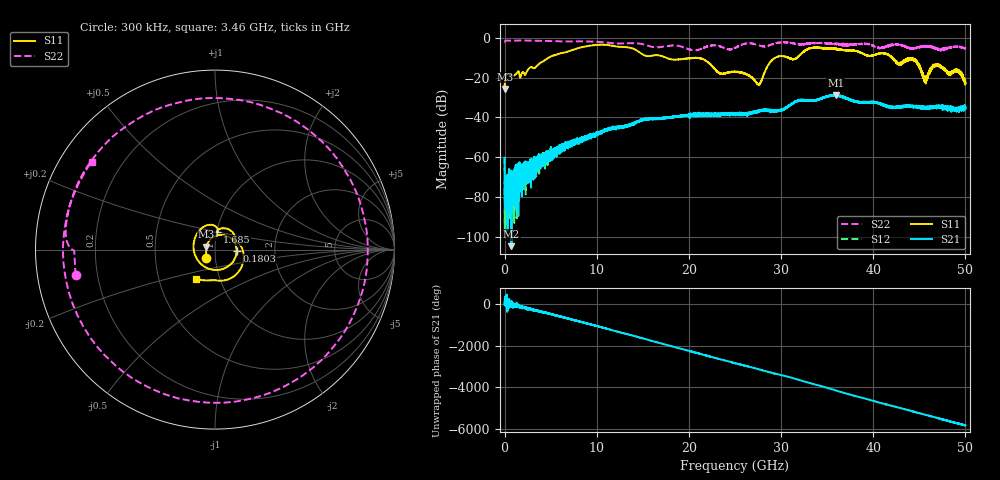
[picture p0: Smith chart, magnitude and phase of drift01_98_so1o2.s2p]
!Created with skrf (http://scikit-rf.org).
# Hz S RI R 50.0
!freq ReS11 ImS11 ReS21 ImS21 ReS12 ImS12 ReS22 ImS22
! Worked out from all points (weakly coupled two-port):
!   10001 points, 300 kHz to 50 GHz, reference 50 ohm
!   highest |S21| = -28.73 dB at 35.94 GHz (marker M1); lowest = -104.7 dB at 745.3 MHz (marker M2)
!   lowest |S11| = -25.8 dB at 5.3 MHz (marker M3), VSWR 1.11, Z = 45.3 + j1.41 ohm
!   |S11| at or under -10 dB: start of sweep to 4.767 GHz; 17.5 GHz to 29.38 GHz (11.88 GHz wide, 50.7 % of centre); 42.07 GHz to end of sweep (the widest 3 of 13)
!   |S22| runs from -6.5 to -1.4 dB; largest |S21 - S12| = 0.0043
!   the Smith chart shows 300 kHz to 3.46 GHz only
!   S11 on the Smith chart (normalised r, x): 300 kHz: 0.90, -0.08; 180.3 MHz: 1.27, -0.01; 1.685 GHz: 1.01, +0.20; 3.46 GHz: 0.77, -0.26
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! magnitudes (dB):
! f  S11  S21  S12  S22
! 300 kHz  -23.6  -60.4  -59.9  -2.0
! 5.3 MHz  -25.8  -72.7  -83.2  -2.1
! 180.3 MHz  -18.4  -74.5  -74.0  -1.4
! 745.3 MHz  -19.0  -104.7  -71.4  -1.5
! 1.685 GHz  -20.1  -72.8  -71.5  -1.4
! 3.46 GHz  -14.3  -62.7  -61.9  -1.5
! 8.335 GHz  -4.8  -51.5  -51.6  -1.8
! 16.67 GHz  -8.8  -40.5  -40.7  -4.8
! 21.21 GHz  -10.3  -38.5  -38.7  -5.8
! 23.39 GHz  -17.9  -39.0  -38.4  -4.4
! 25 GHz  -17.1  -38.3  -38.6  -5.1
! 27.59 GHz  -23.6  -36.9  -37.1  -3.8
! 29.27 GHz  -10.3  -36.7  -37.0  -2.9
! 31.47 GHz  -10.7  -32.1  -32.5  -2.9
! 33.34 GHz  -5.1  -31.6  -31.5  -2.7
! 35.94 GHz  -5.5  -28.7  -29.0  -3.0
! 41.67 GHz  -8.8  -34.4  -34.9  -4.3
! 42.74 GHz  -12.9  -34.5  -34.7  -3.3
! 44.49 GHz  -11.3  -34.5  -34.2  -5.5
! 45.63 GHz  -20.2  -35.2  -35.9  -4.2
! 46.96 GHz  -13.2  -35.1  -34.0  -5.6
! 50 GHz  -22.0  -35.0  -35.2  -5.3
